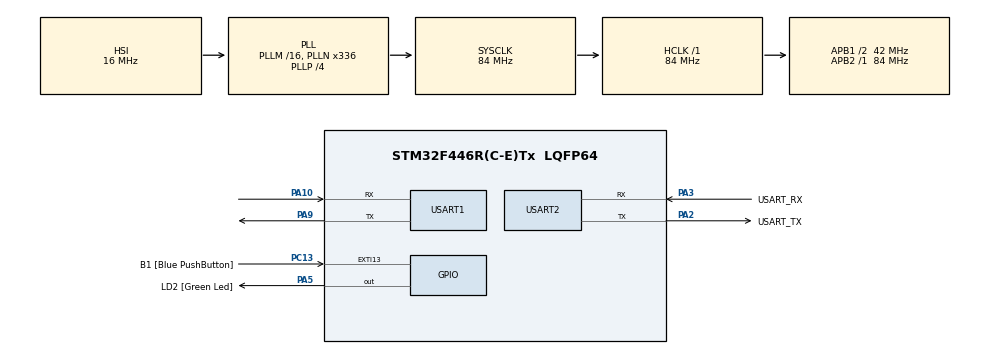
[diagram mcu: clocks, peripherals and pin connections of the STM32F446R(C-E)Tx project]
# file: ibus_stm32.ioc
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Dma.Request0=USART1_RX
Dma.USART1_RX.0.Direction=DMA_PERIPH_TO_MEMORY
Dma.USART1_RX.0.FIFOMode=DMA_FIFOMODE_DISABLE
Dma.USART1_RX.0.Instance=DMA2_Stream2
Dma.USART1_RX.0.MemDataAlignment=DMA_MDATAALIGN_BYTE
Dma.USART1_RX.0.MemInc=DMA_MINC_ENABLE
Dma.USART1_RX.0.Mode=DMA_NORMAL
Dma.USART1_RX.0.PeriphDataAlignment=DMA_PDATAALIGN_BYTE
Dma.USART1_RX.0.PeriphInc=DMA_PINC_DISABLE
Dma.USART1_RX.0.Priority=DMA_PRIORITY_LOW
Mcu.Family=STM32F4
Mcu.Name=STM32F446R(C-E)Tx
Mcu.Package=LQFP64
NVIC.DMA2_Stream2_IRQn=true\:0\:0\:false\:false\:true\:false\:true\:true
NVIC.PriorityGroup=NVIC_PRIORITYGROUP_0
PA10.Mode=Asynchronous
PA10.Signal=USART1_RX
PA13.GPIO_Label=TMS
PA13.Mode=Serial_Wire
PA13.Signal=SYS_JTMS-SWDIO
PA14.GPIO_Label=TCK
PA14.Mode=Serial_Wire
PA14.Signal=SYS_JTCK-SWCLK
PA2.GPIO_Label=USART_TX
PA2.Mode=Asynchronous
PA2.Signal=USART2_TX
PA3.GPIO_Label=USART_RX
PA3.Mode=Asynchronous
PA3.Signal=USART2_RX
PA5.GPIO_Label=LD2 [Green Led]
PA5.Signal=GPIO_Output
PA9.Mode=Asynchronous
PA9.Signal=USART1_TX
PB3.GPIO_Label=SWO
PB3.Signal=SYS_JTDO-SWO
PC13.GPIO_Label=B1 [Blue PushButton]
PC13.GPIO_ModeDefaultEXTI=GPIO_MODE_IT_FALLING
PC13.Signal=GPXTI13
PC14-OSC32_IN.Mode=LSE-External-Oscillator
PC14-OSC32_IN.Signal=RCC_OSC32_IN
PC15-OSC32_OUT.Mode=LSE-External-Oscillator
PC15-OSC32_OUT.Signal=RCC_OSC32_OUT
PH0-OSC_IN.Mode=HSE-External-Oscillator
PH0-OSC_IN.Signal=RCC_OSC_IN
PH1-OSC_OUT.Mode=HSE-External-Oscillator
PH1-OSC_OUT.Signal=RCC_OSC_OUT
ProjectManager.HeapSize=0x200
ProjectManager.StackSize=0x400
ProjectManager.TargetToolchain=STM32CubeIDE
RCC.48MHZClocksFreq_Value=84000000
RCC.AHBFreq_Value=84000000
RCC.APB1CLKDivider=RCC_HCLK_DIV2
RCC.APB1Freq_Value=42000000
RCC.APB1TimFreq_Value=84000000
RCC.APB2Freq_Value=84000000
RCC.APB2TimFreq_Value=84000000
RCC.CortexFreq_Value=84000000
RCC.FLatency-AdvancedSettings=FLASH_LATENCY_2
RCC.HCLKFreq_Value=84000000
RCC.HSE_VALUE=8000000
RCC.HSI_VALUE=16000000
RCC.PLLN=336
RCC.PLLP=RCC_PLLP_DIV4
RCC.SYSCLKFreq_VALUE=84000000
RCC.SYSCLKSource=RCC_SYSCLKSOURCE_PLLCLK
RCC.USBFreq_Value=168000000
RCC.VCOOutputFreq_Value=336000000
USART1.VirtualMode=VM_ASYNC
USART2.VirtualMode=VM_ASYNC
board=NUCLEO-F446RE

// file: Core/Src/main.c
/* USER CODE BEGIN Header */
/**
  ******************************************************************************
  * @file           : main.c
  * @brief          : Main program body
  ******************************************************************************
  * @attention
  *
  * Copyright (c) 2025 STMicroelectronics.
  * All rights reserved.
  *
  * This software is licensed under terms that can be found in the LICENSE file
  * in the root directory of this software component.
  * If no LICENSE file comes with this software, it is provided AS-IS.
  *
  ******************************************************************************
  */
/* USER CODE END Header */
#include "main.h"
#include "J3_IBUS_FLYSKY.h"
#include "stdint.h"
#include "stdbool.h"
#include "string.h"

UART_HandleTypeDef huart1;
UART_HandleTypeDef huart2;
DMA_HandleTypeDef hdma_usart1_rx;

/* USER CODE BEGIN PV */
TRxIBus *RxIBus;

#define TEMP_BUFFER_SIZE 1024  // Maximum size for temp_buffer
#define TARGET_SIZE 32
char temp_buffer[TEMP_BUFFER_SIZE];  // Global buffer to store the formatted output
uint16_t temp_buffer_index = 0;  // Index to track where we are in the temp_buffer
#define FRAME_SIZE 32
uint16_t channel_1= 0;
uint16_t channel_2= 0;
uint16_t channel_3= 0;
uint16_t channel_4= 0;
uint16_t channel_5= 0;
uint16_t channel_6= 0;
uint16_t channel_7= 0;
uint16_t channel_8= 0;
uint16_t channel_9= 0;
uint16_t channel_10= 0;

/* USER CODE END PV */

void extract_and_sum_data(void);
void channel_value(void);
void SystemClock_Config(void);
static void MX_GPIO_Init(void);
static void MX_DMA_Init(void);
static void MX_USART1_UART_Init(void);
static void MX_USART2_UART_Init(void);

int main(void)
{

  /* MCU Configuration--------------------------------------------------------*/

  /* Reset of all peripherals, Initializes the Flash interface and the Systick. */
  HAL_Init();

  /* Configure the system clock */
  SystemClock_Config();

  /* Initialize all configured peripherals */
  MX_GPIO_Init();
  MX_DMA_Init();
  MX_USART1_UART_Init();
  MX_USART2_UART_Init();
  /* USER CODE BEGIN 2 */
  HAL_UART_Transmit(&huart2, (uint8_t*)"Ready to receive!\n", 18, HAL_MAX_DELAY);
  RxIBus = J3_IBUS_new(&huart1, 14);
  HAL_UART_Receive_DMA(&huart1, RxIBus->buffer, 64);
  /* USER CODE END 2 */

  /* Infinite loop */
  while (1)
  {
      /*HAL_Delay(100);  // Prevent watchdog reset
      // Debug: print the received buffer (raw data)
      //HAL_UART_Transmit(&huart2, "Buffer received: ", 17, HAL_MAX_DELAY);
      copy_buffer(RxIBus->buffer,64);
     // print_buffer(RxIBus->buffer, 64);  // Print raw buffer
      HAL_UART_Transmit(&huart2, (uint8_t*)temp_buffer, temp_buffer_index, HAL_MAX_DELAY);
      HAL_UART_Transmit(&huart2, "\r\n", 2, HAL_MAX_DELAY);
      verify_checksum(temp_buffer);
      J3_IBUS_RequestNewData(RxIBus);*/

	  HAL_Delay(100);  // Prevent watchdog reset
	    copy_buffer(RxIBus->buffer, 64);
	    //HAL_UART_Transmit(&huart2, temp_buffer,128, HAL_MAX_DELAY);
	    //HAL_UART_Transmit(&huart2, "\r\n", 2, HAL_MAX_DELAY);
	    extract_and_sum_data();
	    channel_value();
	    J3_IBUS_RequestNewData(RxIBus);
	     // Call the function to sum up to 128 hex values
  }
}

void extract_and_sum_data(void) {
    uint32_t sum = 0;
    uint16_t num_values = 0;
    uint16_t num_values_x = 0;
    uint16_t last_two_values[2] = {0};
    uint16_t expected_result = 0;

    for (uint16_t i = 0; i < temp_buffer_index - 3; i++) {
        if (temp_buffer[i] == '0' && temp_buffer[i + 1] == 'x') {

            char hex_value[3] = {};
            hex_value[0] = temp_buffer[i + 2];
            hex_value[1] = temp_buffer[i + 3];

            uint8_t value = (uint8_t)strtol(hex_value, NULL, 16);
            num_values_x++;
           if (num_values_x == 31) {
                last_two_values[0] = value;
            }
            if (num_values_x == 32) {
                last_two_values[1] = value;
            }

            i += 3;

            if (num_values_x >= 32) {
                break;
            }
        }
    }

    for (uint16_t i = 0; i < temp_buffer_index - 3; i++) {
        if (temp_buffer[i] == '0' && temp_buffer[i + 1] == 'x') {
            char hex_value[3] = {};
            hex_value[0] = temp_buffer[i + 2];
            hex_value[1] = temp_buffer[i + 3];

            uint8_t value = (uint8_t)strtol(hex_value, NULL, 16);
            sum += value;
            num_values++;

            i += 3;
            if (num_values >= 30) {
                break;
            }
        }
    }

    uint32_t result = 0xFFFF - sum;

    expected_result = (last_two_values[1] << 8) | last_two_values[0];

    char result_str[40];
    char result_str_2[40];

    snprintf(result_str, sizeof(result_str), "Result: 0x%04X", result);
    /*HAL_UART_Transmit(&huart2, (uint8_t*)result_str, strlen(result_str), HAL_MAX_DELAY);
    HAL_UART_Transmit(&huart2, "\r\n", 2, HAL_MAX_DELAY);  // Send newline after result*/

    // Format the expected result into a string for UART transmission
    snprintf(result_str_2, sizeof(result_str), "Expected: 0x%04X", expected_result);
    /*HAL_UART_Transmit(&huart2, (uint8_t*)result_str, strlen(result_str), HAL_MAX_DELAY);
    HAL_UART_Transmit(&huart2, "\r\n", 2, HAL_MAX_DELAY);  // Send newline after expected result*/

    if (result == expected_result) {
        //HAL_UART_Transmit(&huart2, "Match!\r\n", 8, HAL_MAX_DELAY);
    } else {
        HAL_UART_Transmit(&huart2, "No Match!\r\n", 11, HAL_MAX_DELAY);
    }
}

void channel_value() {
    uint32_t sum = 0;
    uint16_t num_values = 0;
    uint16_t num_values_x = 0;
    uint16_t channel_1_hex[2] = {0};
    uint16_t channel_2_hex[2] = {0};
    uint16_t channel_3_hex[2] = {0};
    uint16_t channel_4_hex[2] = {0};
    uint16_t channel_5_hex[2] = {0};
    uint16_t channel_6_hex[2] = {0};
    uint16_t channel_7_hex[2] = {0};
    uint16_t channel_8_hex[2] = {0};
    uint16_t channel_9_hex[2] = {0};
    uint16_t channel_10_hex[2] = {0};

    for (uint16_t i = 0; i < temp_buffer_index - 3; i++) {
        if (temp_buffer[i] == '0' && temp_buffer[i + 1] == 'x') {

            char hex_value[3] = {};
            hex_value[0] = temp_buffer[i + 2];
            hex_value[1] = temp_buffer[i + 3];

            uint8_t value = (uint8_t)strtol(hex_value, NULL, 16);
            num_values_x++;
            if (num_values_x == 3) {
            	channel_1_hex[0] = value;
            }
            if (num_values_x == 4) {
            	channel_1_hex[1] = value;
            }
            if (num_values_x == 5) {
            	channel_2_hex[0] = value;
            }
            if (num_values_x == 6) {
            	channel_2_hex[1] = value;
            }
            if (num_values_x == 7) {
            	channel_3_hex[0] = value;
            }
            if (num_values_x == 8) {
            	channel_3_hex[1] = value;
            }
            if (num_values_x == 9) {
            	channel_4_hex[0] = value;
            }
            if (num_values_x == 10) {
            	channel_4_hex[1] = value;
            }
            if (num_values_x == 11) {
            	channel_5_hex[0] = value;
            }
            if (num_values_x == 12) {
            	channel_5_hex[1] = value;
            }
            if (num_values_x == 13) {
            	channel_6_hex[0] = value;
            }
            if (num_values_x == 14) {
            	channel_6_hex[1] = value;
            }
            if (num_values_x == 15) {
            	channel_7_hex[0] = value;
            }
            if (num_values_x == 16) {
            	channel_7_hex[1] = value;
            }
            if (num_values_x == 17) {
            	channel_8_hex[0] = value;
            }
            if (num_values_x == 18) {
            	channel_8_hex[1] = value;
            }
            if (num_values_x == 19) {
            	channel_9_hex[0] = value;
            }
            if (num_values_x == 20) {
            	channel_9_hex[1] = value;
            }
            if (num_values_x == 21) {
            	channel_10_hex[0] = value;
            }
            if (num_values_x == 22) {
            	channel_10_hex[1] = value;
            }

            i += 3;

            if (num_values_x >= 25) {
                break;
            }
        }
    }

    // Combine the two last values to get the expected result in little-endian format
    channel_1 = (channel_1_hex[1] << 8) | channel_1_hex[0];
    channel_2 = (channel_2_hex[1] << 8) | channel_2_hex[0];
    channel_3 = (channel_3_hex[1] << 8) | channel_3_hex[0];
    channel_4 = (channel_4_hex[1] << 8) | channel_4_hex[0];
    channel_5 = (channel_5_hex[1] << 8) | channel_5_hex[0];
    channel_6 = (channel_6_hex[1] << 8) | channel_6_hex[0];
    channel_7 = (channel_7_hex[1] << 8) | channel_7_hex[0];
    channel_8 = (channel_8_hex[1] << 8) | channel_8_hex[0];
    channel_9 = (channel_9_hex[1] << 8) | channel_9_hex[0];
    channel_10 = (channel_10_hex[1] << 8) | channel_10_hex[0];

    // Format the expected result as a decimal number for UART transmission
    char result_str_1[40];
    char result_str_2[40];
    char result_str_3[40];
    char result_str_4[40];
    char result_str_5[40];
    char result_str_6[40];
    char result_str_7[40];
    char result_str_8[40];
    char result_str_9[40];
    char result_str_10[40];

    snprintf(result_str_1, sizeof(result_str_1), "Channel 1: %d", channel_1);
    snprintf(result_str_2, sizeof(result_str_2), "Channel 2: %d", channel_2);
    snprintf(result_str_3, sizeof(result_str_3), "Channel 3: %d", channel_3);
    snprintf(result_str_4, sizeof(result_str_4), "Channel 4: %d", channel_4);
    snprintf(result_str_5, sizeof(result_str_5), "Channel 5: %d", channel_5);
    snprintf(result_str_6, sizeof(result_str_6), "Channel 6: %d", channel_6);
    snprintf(result_str_7, sizeof(result_str_7), "Channel 7: %d", channel_7);
    snprintf(result_str_8, sizeof(result_str_8), "Channel 8: %d", channel_8);
    snprintf(result_str_9, sizeof(result_str_9), "Channel 9: %d", channel_9);
    snprintf(result_str_10, sizeof(result_str_10), "Channel 10: %d", channel_10);

    // Send the results via UART
    HAL_UART_Transmit(&huart2, (uint8_t*)result_str_1, strlen(result_str_1), HAL_MAX_DELAY);
    HAL_UART_Transmit(&huart2, "\r\n", 2, HAL_MAX_DELAY);  // Send newline

    HAL_UART_Transmit(&huart2, (uint8_t*)result_str_2, strlen(result_str_2), HAL_MAX_DELAY);
    HAL_UART_Transmit(&huart2, "\r\n", 2, HAL_MAX_DELAY);  // Send newline

    HAL_UART_Transmit(&huart2, (uint8_t*)result_str_3, strlen(result_str_3), HAL_MAX_DELAY);
    HAL_UART_Transmit(&huart2, "\r\n", 2, HAL_MAX_DELAY);  // Send newline

    HAL_UART_Transmit(&huart2, (uint8_t*)result_str_4, strlen(result_str_4), HAL_MAX_DELAY);
    HAL_UART_Transmit(&huart2, "\r\n", 2, HAL_MAX_DELAY);  // Send newline

    HAL_UART_Transmit(&huart2, (uint8_t*)result_str_5, strlen(result_str_5), HAL_MAX_DELAY);
    HAL_UART_Transmit(&huart2, "\r\n", 2, HAL_MAX_DELAY);  // Send newline

    HAL_UART_Transmit(&huart2, (uint8_t*)result_str_6, strlen(result_str_6), HAL_MAX_DELAY);
    HAL_UART_Transmit(&huart2, "\r\n", 2, HAL_MAX_DELAY);  // Send newline

    HAL_UART_Transmit(&huart2, (uint8_t*)result_str_7, strlen(result_str_7), HAL_MAX_DELAY);
    HAL_UART_Transmit(&huart2, "\r\n", 2, HAL_MAX_DELAY);  // Send newline

    HAL_UART_Transmit(&huart2, (uint8_t*)result_str_8, strlen(result_str_8), HAL_MAX_DELAY);
    HAL_UART_Transmit(&huart2, "\r\n", 2, HAL_MAX_DELAY);  // Send newline

    HAL_UART_Transmit(&huart2, (uint8_t*)result_str_9, strlen(result_str_9), HAL_MAX_DELAY);
    HAL_UART_Transmit(&huart2, "\r\n", 2, HAL_MAX_DELAY);  // Send newline

    HAL_UART_Transmit(&huart2, (uint8_t*)result_str_10, strlen(result_str_10), HAL_MAX_DELAY);
    HAL_UART_Transmit(&huart2, "\r\n", 2, HAL_MAX_DELAY);  // Send newline
}

void SystemClock_Config(void)
{
  RCC_OscInitTypeDef RCC_OscInitStruct = {0};
  RCC_ClkInitTypeDef RCC_ClkInitStruct = {0};

  /** Configure the main internal regulator output voltage
  */
  __HAL_RCC_PWR_CLK_ENABLE();
  __HAL_PWR_VOLTAGESCALING_CONFIG(PWR_REGULATOR_VOLTAGE_SCALE3);

  /** Initializes the RCC Oscillators according to the specified parameters
  * in the RCC_OscInitTypeDef structure.
  */
  RCC_OscInitStruct.OscillatorType = RCC_OSCILLATORTYPE_HSI;
  RCC_OscInitStruct.HSIState = RCC_HSI_ON;
  RCC_OscInitStruct.HSICalibrationValue = RCC_HSICALIBRATION_DEFAULT;
  RCC_OscInitStruct.PLL.PLLState = RCC_PLL_ON;
  RCC_OscInitStruct.PLL.PLLSource = RCC_PLLSOURCE_HSI;
  RCC_OscInitStruct.PLL.PLLM = 16;
  RCC_OscInitStruct.PLL.PLLN = 336;
  RCC_OscInitStruct.PLL.PLLP = RCC_PLLP_DIV4;
  RCC_OscInitStruct.PLL.PLLQ = 2;
  RCC_OscInitStruct.PLL.PLLR = 2;
  if (HAL_RCC_OscConfig(&RCC_OscInitStruct) != HAL_OK)
  {
    Error_Handler();
  }

  /** Initializes the CPU, AHB and APB buses clocks
  */
  RCC_ClkInitStruct.ClockType = RCC_CLOCKTYPE_HCLK|RCC_CLOCKTYPE_SYSCLK
                              |RCC_CLOCKTYPE_PCLK1|RCC_CLOCKTYPE_PCLK2;
  RCC_ClkInitStruct.SYSCLKSource = RCC_SYSCLKSOURCE_PLLCLK;
  RCC_ClkInitStruct.AHBCLKDivider = RCC_SYSCLK_DIV1;
  RCC_ClkInitStruct.APB1CLKDivider = RCC_HCLK_DIV2;
  RCC_ClkInitStruct.APB2CLKDivider = RCC_HCLK_DIV1;

  if (HAL_RCC_ClockConfig(&RCC_ClkInitStruct, FLASH_LATENCY_2) != HAL_OK)
  {
    Error_Handler();
  }
}

void print_buffer(uint8_t *buffer, uint16_t size) {
    char temp[5];

    // Loop through each byte in the buffer and format it
    for (uint16_t i = 0; i < size; i++) {
        // Format each byte as "0xXX" and store it in temp
        sprintf(temp, "0x%02X ", buffer[i]);

        // Copy the formatted data (temp) into the global temp_buffer
        uint16_t len = strlen(temp);
        if (temp_buffer_index + len < TEMP_BUFFER_SIZE) {
            memcpy(&temp_buffer[temp_buffer_index], temp, len);
            temp_buffer_index += len;  // Update the index in the temp_buffer
        } else {
            // Handle the case if temp_buffer overflows (optional, e.g., reset or stop appending)
            break;
        }
    }

    // Now transmit the entire temp_buffer via UART
    //HAL_UART_Transmit(&huart2, (uint8_t*)temp_buffer, temp_buffer_index, HAL_MAX_DELAY);

    // Do not clear temp_buffer here, so it can be reused later
}

void copy_buffer(uint8_t *buffer, uint16_t size) {
	char temp[5];  // Temporary buffer to format each byte
	    uint16_t start_index = 0;  // Index where the specific frame starts

	    // Clear the temp_buffer before storing new data
	    memset(temp_buffer, 0, TEMP_BUFFER_SIZE);
	    temp_buffer_index = 0;  // Reset the index to start fresh

	    // Loop through the buffer to find the specific frame, in this case from 0x20 (0x20 0x40 ... 0xF3)
	    for (uint16_t i = 0; i < size; i++) {
	        // Check if we are at the beginning of the specific frame we want to print
	        if (buffer[i] == 0x20 && i + TARGET_SIZE <= size) {  // Look for the start of the frame
	            start_index = i;
	            break;
	        }
	    }

	    // Loop through the specific part of the buffer and format it
	    for (uint16_t i = start_index; i < start_index + TARGET_SIZE; i++) {
	        sprintf(temp, "0x%02X", buffer[i]);

	        // Copy the formatted data (temp) into the global temp_buffer
	        uint16_t len = strlen(temp);
	        if (temp_buffer_index + len < TEMP_BUFFER_SIZE) {
	            memcpy(&temp_buffer[temp_buffer_index], temp, len);
	            temp_buffer_index += len;  // Update the index in the temp_buffer
	        } else {
	            // Handle buffer overflow (optional, you may reset or stop appending)
	            break;
	        }
	    }

	}

static void MX_USART1_UART_Init(void)
{

  huart1.Instance = USART1;
  huart1.Init.BaudRate = 115200;
  huart1.Init.WordLength = UART_WORDLENGTH_8B;
  huart1.Init.StopBits = UART_STOPBITS_1;
  huart1.Init.Parity = UART_PARITY_NONE;
  huart1.Init.Mode = UART_MODE_TX_RX;
  huart1.Init.HwFlowCtl = UART_HWCONTROL_NONE;
  huart1.Init.OverSampling = UART_OVERSAMPLING_16;
  if (HAL_UART_Init(&huart1) != HAL_OK)
  {
    Error_Handler();
  }
  /* USER CODE BEGIN USART1_Init 2 */
  void HAL_UART_RxCpltCallback(UART_HandleTypeDef *huart) {
      if (huart->Instance == USART1) {
          J3_IBUS_ProcessBuffer(RxIBus); // Process data after it is received
      }
  }

  /* USER CODE END USART1_Init 2 */

}

static void MX_USART2_UART_Init(void)
{

  huart2.Instance = USART2;
  huart2.Init.BaudRate = 115200;
  huart2.Init.WordLength = UART_WORDLENGTH_8B;
  huart2.Init.StopBits = UART_STOPBITS_1;
  huart2.Init.Parity = UART_PARITY_NONE;
  huart2.Init.Mode = UART_MODE_TX_RX;
  huart2.Init.HwFlowCtl = UART_HWCONTROL_NONE;
  huart2.Init.OverSampling = UART_OVERSAMPLING_16;
  if (HAL_UART_Init(&huart2) != HAL_OK)
  {
    Error_Handler();
  }

}

static void MX_DMA_Init(void)
{

  /* DMA controller clock enable */
  __HAL_RCC_DMA2_CLK_ENABLE();

  /* DMA interrupt init */
  /* DMA2_Stream2_IRQn interrupt configuration */
  HAL_NVIC_SetPriority(DMA2_Stream2_IRQn, 0, 0);
  HAL_NVIC_EnableIRQ(DMA2_Stream2_IRQn);

}

static void MX_GPIO_Init(void)
{
  GPIO_InitTypeDef GPIO_InitStruct = {0};

  /* GPIO Ports Clock Enable */
  __HAL_RCC_GPIOC_CLK_ENABLE();
  __HAL_RCC_GPIOH_CLK_ENABLE();
  __HAL_RCC_GPIOA_CLK_ENABLE();
  __HAL_RCC_GPIOB_CLK_ENABLE();

  /*Configure GPIO pin Output Level */
  HAL_GPIO_WritePin(LD2_GPIO_Port, LD2_Pin, GPIO_PIN_RESET);

  /*Configure GPIO pin : B1_Pin */
  GPIO_InitStruct.Pin = B1_Pin;
  GPIO_InitStruct.Mode = GPIO_MODE_IT_FALLING;
  GPIO_InitStruct.Pull = GPIO_NOPULL;
  HAL_GPIO_Init(B1_GPIO_Port, &GPIO_InitStruct);

  /*Configure GPIO pin : LD2_Pin */
  GPIO_InitStruct.Pin = LD2_Pin;
  GPIO_InitStruct.Mode = GPIO_MODE_OUTPUT_PP;
  GPIO_InitStruct.Pull = GPIO_NOPULL;
  GPIO_InitStruct.Speed = GPIO_SPEED_FREQ_LOW;
  HAL_GPIO_Init(LD2_GPIO_Port, &GPIO_InitStruct);

}

void Error_Handler(void)
{
  __disable_irq();
  while (1)
  {
  }
}
